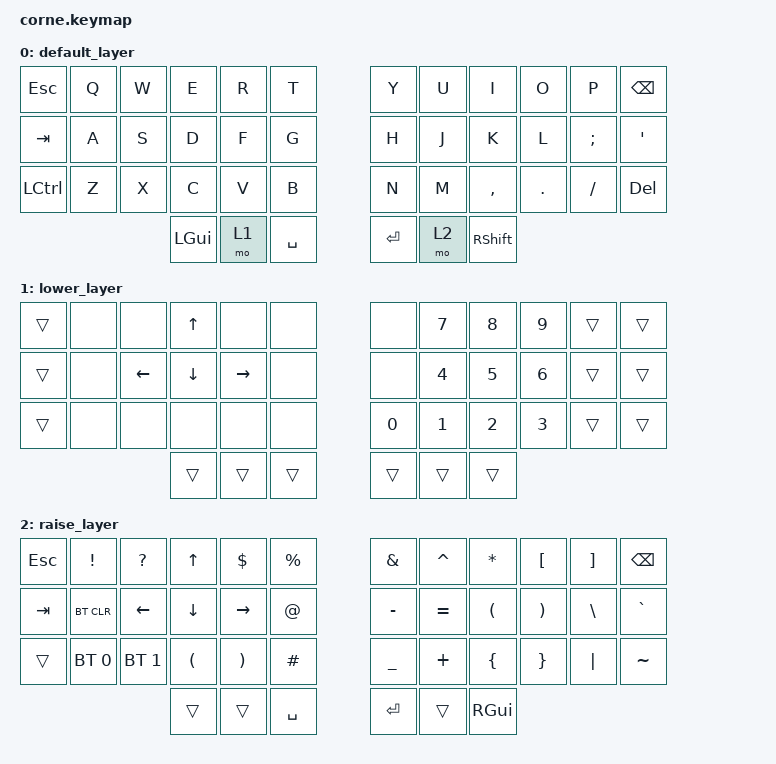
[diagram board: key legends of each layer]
/*
 * Copyright (c) 2020 The ZMK Contributors
 *
 * SPDX-License-Identifier: MIT
 */

#include <behaviors.dtsi>
#include <dt-bindings/zmk/bt.h>
#include <dt-bindings/zmk/keys.h>

/ {
    combos {
        compatible = "zmk,combos";

        vol_up {
            bindings = <&kp C_VOLUME_UP>;
            key-positions = <30 18>;
        };

        vol_down {
            bindings = <&kp C_VOL_DN>;
            key-positions = <29 17>;
        };

        br_up {
            bindings = <&kp C_BRIGHTNESS_INC>;
            key-positions = <31 19>;
        };

        br_down {
            bindings = <&kp C_BRIGHTNESS_DEC>;
            key-positions = <28 16>;
        };
    };

    behaviors {
        lalt_to_shift: lalt_to_shift {
            compatible = "zmk,behavior-tap-dance";
            label = "LALT_TO_SHIFT";
            #binding-cells = <0>;
            bindings = <&kp LALT>, <&kt LSHIFT>;
        };

        enter_on_double_space: enter_on_double_space {
            compatible = "zmk,behavior-tap-dance";
            label = "ENTER_ON_DOUBLE_SPACE";
            #binding-cells = <0>;
            bindings = <&kp SPACE>, <&kp ENTER>;
        };
    };

    keymap {
        compatible = "zmk,keymap";

        default_layer {
            // -----------------------------------------------------------------------------------------
            // |  TAB |  Q  |  W  |  E  |  R  |  T  |   |  Y  |  U   |  I  |  O  |  P  | BSPC |
            // | SHFT |  A  |  S  |  D  |  F  |  G  |   |  H  |  J   |  K  |  L  |  ;  |  '   |
            // | CTRL |  Z  |  X  |  C  |  V  |  B  |   |  N  |  M   |  ,  |  .  |  /  | ESC  |
            //                    | ALT | LWR | SPC |   | ENT | RSE  | GUI |

            bindings = <
&kp ESC    &kp Q  &kp W  &kp E         &kp R  &kp T        &kp Y      &kp U  &kp I       &kp O    &kp P     &kp BACKSPACE
&kp TAB    &kp A  &kp S  &kp D         &kp F  &kp G        &kp H      &kp J  &kp K       &kp L    &kp SEMI  &kp SQT
&kp LCTRL  &kp Z  &kp X  &kp C         &kp V  &kp B        &kp N      &kp M  &kp COMMA   &kp DOT  &kp FSLH  &kp DEL
                         &kp LEFT_GUI  &mo 1  &kp SPACE    &kp ENTER  &mo 2  &kp RSHIFT
            >;
        };

        lower_layer {
            // -----------------------------------------------------------------------------------------
            // |  TAB | BT1 | BT4 |  1  |  2  |  3  |   |     |  UP |     |     |     | BSPC |
            // | BTCLR| BT2 | BT5 |  4  |  5  |  6  |   | LFT | DWN | RGT |     |     |      |
            // | SHFT | BT3 |  0  |  7  |  8  |  9  |   |     |     |     |     |     |      |
            //                    | ALT |     | SPC |   | ENT |     | GUI |

            bindings = <
&trans  &none  &none           &kp UP_ARROW    &none      &none     &none   &kp N7  &kp N8  &kp N9  &trans  &trans
&trans  &none  &kp LEFT_ARROW  &kp DOWN_ARROW  &kp RIGHT  &none     &none   &kp N4  &kp N5  &kp N6  &trans  &trans
&trans  &none  &none           &none           &none      &none     &kp N0  &kp N1  &kp N2  &kp N3  &trans  &trans
                               &trans          &trans     &trans    &trans  &trans  &trans
            >;
        };

        raise_layer {
            // -----------------------------------------------------------------------------------------
            // |  TAB |  !  |  @  |  #  |  $  |  %  |   |  ^  |  &  |  *  |  (  |  )  | BSPC |
            // | CTRL |     |     |     |     |     |   |  -  |  =  |  [  |  ]  |  \  |  `   |
            // | SHFT |     |     |     |     |     |   |  _  |  +  |  {  |  }  | "|" |  ~   |
            //                    | ALT |     | SPC |   | ENT |     | GUI |

            bindings = <
&kp ESC  &kp EXCL      &kp QUESTION    &kp UP_ARROW          &kp DLLR               &kp PRCNT      &kp AMPERSAND  &kp CARET  &kp ASTRK             &kp LEFT_BRACKET       &kp RIGHT_BRACKET  &kp BSPC
&kp TAB  &bt BT_CLR    &kp LEFT_ARROW  &kp DOWN_ARROW        &kp RIGHT_ARROW        &kp AT_SIGN    &kp MINUS      &kp EQUAL  &kp LEFT_PARENTHESIS  &kp RIGHT_PARENTHESIS  &kp BSLH           &kp GRAVE
&trans   &bt BT_SEL 0  &bt BT_SEL 1    &kp LEFT_PARENTHESIS  &kp RIGHT_PARENTHESIS  &kp HASH       &kp UNDER      &kp PLUS   &kp LBRC              &kp RBRC               &kp PIPE           &kp TILDE
                                       &trans                &trans                 &kp SPACE      &kp RET        &trans     &kp RGUI
            >;
        };
    };
};
